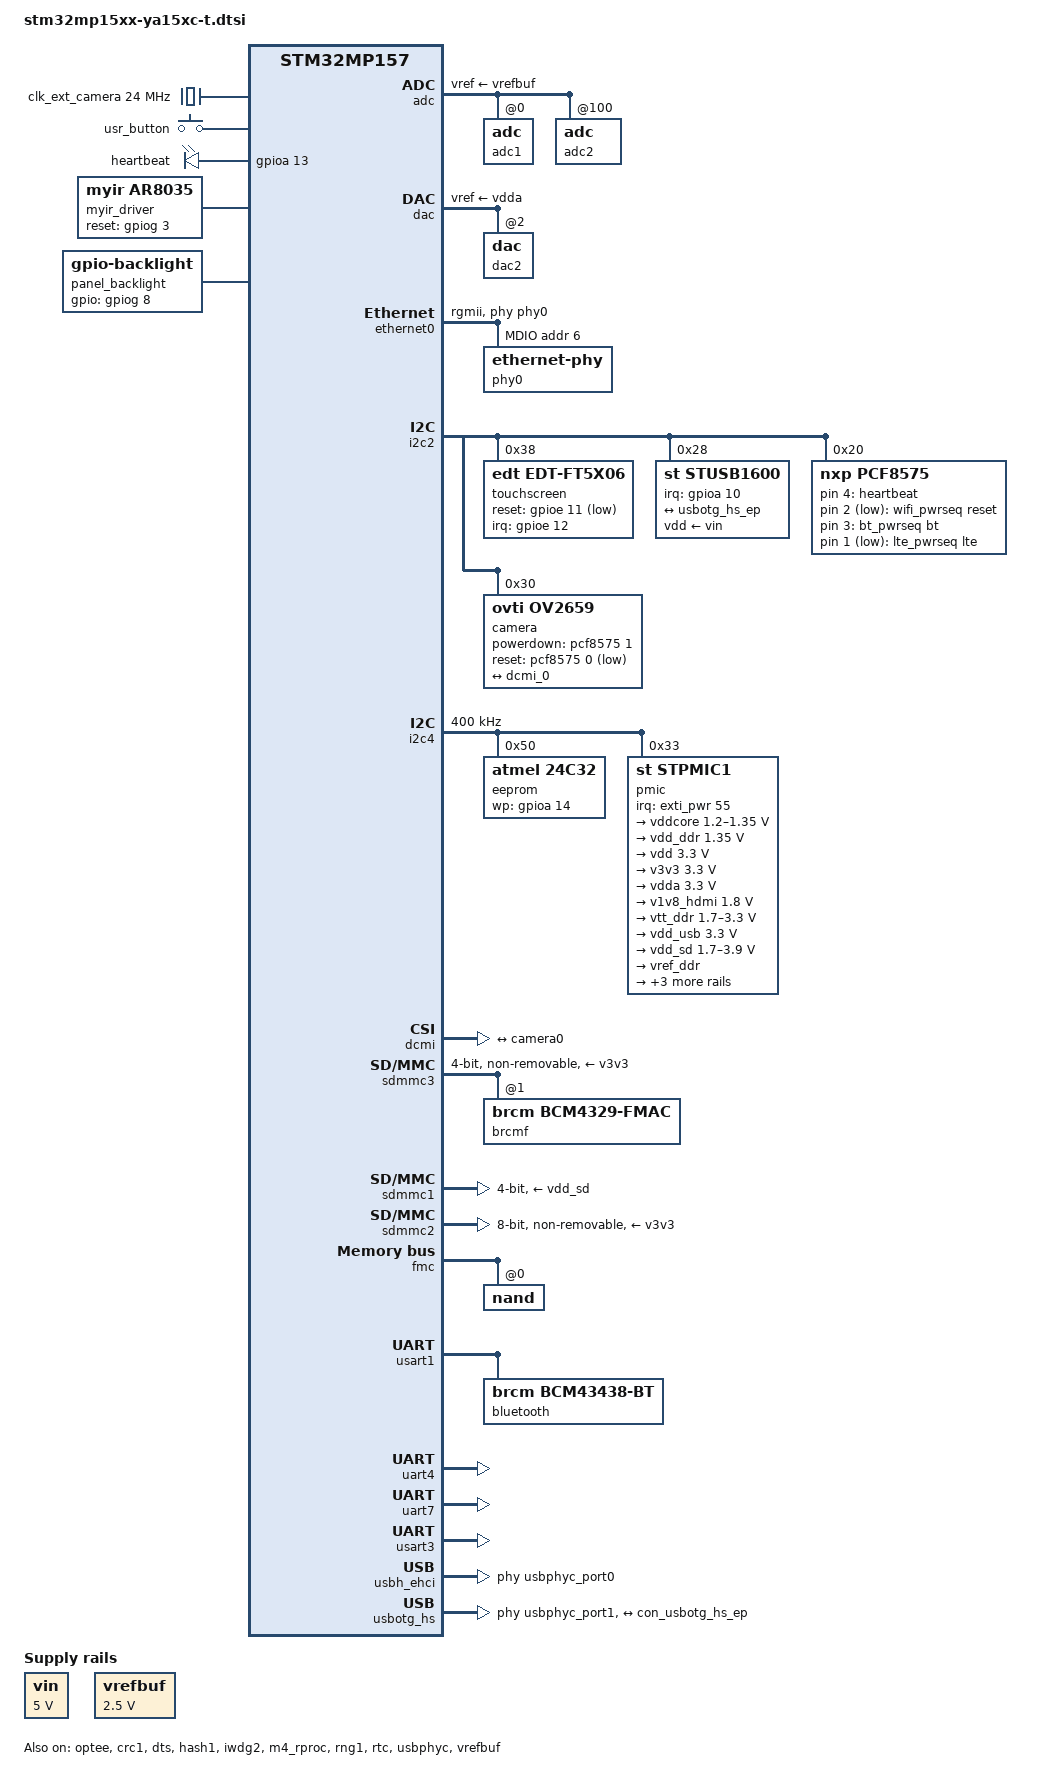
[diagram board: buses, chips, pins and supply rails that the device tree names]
// SPDX-License-Identifier: (GPL-2.0+ OR BSD-3-Clause)
/*
 * Copyright (C) STMicroelectronics 2019 - All Rights Reserved
 * Author: Alexandre Torgue <alexandre.torgue@st.com> for STMicroelectronics.
 */

#include "stm32mp157-m4-srm.dtsi"
#include "stm32mp157-m4-srm-pinctrl.dtsi"
#include <dt-bindings/mfd/st,stpmic1.h>
#include <dt-bindings/input/input.h>


/ {

	reserved-memory {
		#address-cells = <1>;
		#size-cells = <1>;
		ranges;

		mcuram2: mcuram2@10000000 {
			compatible = "shared-dma-pool";
			reg = <0x10000000 0x40000>;
			no-map;
		};

		vdev0vring0: vdev0vring0@10040000 {
			compatible = "shared-dma-pool";
			reg = <0x10040000 0x1000>;
			no-map;
		};

		vdev0vring1: vdev0vring1@10041000 {
			compatible = "shared-dma-pool";
			reg = <0x10041000 0x1000>;
			no-map;
		};

		vdev0buffer: vdev0buffer@10042000 {
			compatible = "shared-dma-pool";
			reg = <0x10042000 0x4000>;
			no-map;
		};

		mcuram: mcuram@30000000 {
			compatible = "shared-dma-pool";
			reg = <0x30000000 0x40000>;
			no-map;
		};

		retram: retram@38000000 {
			compatible = "shared-dma-pool";
			reg = <0x38000000 0x10000>;
			no-map;
		};
	};

	 clocks {
                clk_ext_camera: clk-ext-camera {
                        #clock-cells = <0>;
                        compatible = "fixed-clock";
                        clock-frequency = <24000000>;
                };
        };

	joystick {
	        compatible = "gpio-keys";
        	#size-cells = <0>;
        	button-0 {
               		 label = "usr_button";
               		 linux,code = <KEY_ENTER>;
                	interrupt-parent = <&gpioz>;
                	interrupts = <0 IRQ_TYPE_EDGE_RISING>;
        	};
	};


	led {
        	compatible = "gpio-leds";
        	blue {
                        label = "heartbeat";
                        gpios = <&gpioa 13 GPIO_ACTIVE_HIGH>;
                        linux,default-trigger = "heartbeat";
                        default-state = "off";
                };
                blue_ex {
                        label = "heartbeat";
                        gpios = <&pcf8575 4 GPIO_ACTIVE_HIGH>;
                        linux,default-trigger = "heartbeat";
                        default-state = "off";
                };


	};
	
	myir_driver {
                compatible = "myir,ar8035";
                reset-gpios = <&gpiog 3 GPIO_ACTIVE_HIGH>;
		status = "okay";
        };
	
	wifi_pwrseq: wifi-pwrseq {
                compatible = "mmc-pwrseq-simple";
                reset-gpios = <&pcf8575 2 GPIO_ACTIVE_LOW>;
        };
	
	bt_pwrseq {
                compatible = "myir,bt_pwr";
                bt-gpios = <&pcf8575 3 GPIO_ACTIVE_HIGH>;
		status = "okay";
        };	
	
        lte_pwrseq: lte-pwrseq {
                compatible = "myir,lte_pwrseq";
                lte-gpios = <&pcf8575 1 GPIO_ACTIVE_LOW>;
        };

	panel_backlight: panel-backlight {
		compatible = "gpio-backlight";
		gpios = <&gpiog 8 GPIO_ACTIVE_HIGH>;
		default-on;	
		status = "okay";
	};
	
	/*
	panel_backlight: panel-backlight {
		compatible = "pwm-backlight";
		pwms = <&pwm2 0 5000000>;
		brightness-levels = <0 4 8 16 32 64 128 255>;
		default-brightness-level = <6>;
		status = "okay";
	};
	*/

	usb_phy_tuning: usb-phy-tuning {
		st,hs-dc-level = <2>;
		st,fs-rftime-tuning;
		st,hs-rftime-reduction;
		st,hs-current-trim = <15>;
		st,hs-impedance-trim = <1>;
		st,squelch-level = <3>;
		st,hs-rx-offset = <2>;
		st,no-lsfs-sc;
	};

	vin: vin {
                compatible = "regulator-fixed";
                regulator-name = "vin";
                regulator-min-microvolt = <5000000>;
                regulator-max-microvolt = <5000000>;
                regulator-always-on;
        };


};

/*myir pin header
 *ANA0 (ADC1_INP0 or ADC2_INP0)
 *ANA1 (ADC1_INP1 or ADC2_INP1)
 *PC0(ADC1_INP10 or ADC2_INP10) 
 *PC3(ADC1_INP13 or ADC2_INN12) 
 *PF12(ADC1_INP6 or ADC1_INN2)
 *
 */
&adc{
	pinctrl-names = "default", "sleep";
	pinctrl-0 = <&adc_pins_mx>;
	pinctrl-1 = <&adc_sleep_pins_mx>;
	vdd-supply = <&vdd>;
        vdda-supply = <&vdd>;
        vref-supply = <&vrefbuf>;
	status = "okay";

	adc1: adc@0 {
                st,min-sample-time-nsecs = <10000>;
                st,adc-channels = <0 1 6 10 13>;
                status = "okay";
        };

        adc2: adc@100 {
		st,min-sample-time-nsecs = <5000>;
                st,adc-channels = <0 1 10 12>;
                status = "okay";
        };
	

        adc_temp: temp {
                status = "okay";
        };
};

&dac{
	pinctrl-names = "default", "sleep";
	pinctrl-0 = <&dac1_pins_mx>;
	pinctrl-1 = <&dac1_sleep_pins_mx>;
	status = "okay";
	vref-supply = <&vdda>;

	/*PA4*/
        dac1: dac@1 {
                status = "disabled";
        };
	/*PA5*/
        dac2: dac@2 {
                status = "okay";
        };

};


&optee {
	status = "okay";
};

&crc1 {
	status = "okay";
};

&dma1 {
	sram = <&dma_pool>;
};

&dma2 {
	sram = <&dma_pool>;
};

&dts {
	status = "okay";
};

/*g ethernet*/
&ethernet0 {
	status = "okay";
	pinctrl-0 = <&ethernet0_rgmii_pins_a>;
	pinctrl-1 = <&ethernet0_rgmii_pins_sleep_a>;
	pinctrl-names = "default", "sleep";
	phy-mode = "rgmii";
	max-speed = <1000>;
	phy-handle = <&phy0>;

	mdio0 {
		#address-cells = <1>;
		#size-cells = <0>;
		compatible = "snps,dwmac-mdio";
		phy0: ethernet-phy@6 {
            		reg = <6>; 
		};
	};
};


&hash1 {
	status = "okay";
};

/*no hdmi cec*/
/*
&cec {
	pinctrl-names = "default", "sleep";
	pinctrl-0 = <&cec_pins_a>;
	pinctrl-1 = <&cec_pins_sleep_a>;
	status = "disabled";
};
*/


&i2c2 {
	pinctrl-names = "default", "sleep";
        pinctrl-0 = <&i2c2_pins_mx &i2c2_pins_z_mx>;
        pinctrl-1 = <&i2c2_sleep_pins_mx &i2c2_sleep_pins_z_mx>;
        i2c-scl-rising-time-ns = <100>;
        i2c-scl-falling-time-ns = <7>;
        status = "okay";
        /delete-property/dmas;
        /delete-property/dma-names;
	//clock-frequency = <100000>;
	
        touchscreen@38 {
              compatible ="edt,edt-ft5x06";
              reg = <0x38>;

              interrupts = <12 IRQ_TYPE_EDGE_FALLING>;
              interrupt-parent = <&gpioe>;
              interrupt-controller;
              touchscreen-size-x = <800>;
              touchscreen-size-y = <480>;

              reset-gpios = <&gpioe 11 GPIO_ACTIVE_LOW>;
              status = "okay";
      };

	 /*
        tsc2007@48 {
                compatible = "ti,tsc2007";
                reg = <0x48>;
                interrupt-parent = <&gpioe>;
                interrupts = <12 IRQ_TYPE_EDGE_FALLING>;
                gpios = <&gpioe 12 0>;
                ti,x-plate-ohms = <180>;
                status = "okay";
        };
        */


        stusb1600@28 {
		compatible = "st,stusb1600";
		reg = <0x28>;
		interrupts = <10 IRQ_TYPE_EDGE_FALLING>;
		interrupt-parent = <&gpioa>;
		pinctrl-names = "default";
		pinctrl-0 = <&stusb1600_pins_a>;
		status = "okay";
		vdd-supply = <&vin>;

		connector {
			compatible = "usb-c-connector";
			label = "USB-C";
			power-role = "dual";
			power-opmode = "default";

			port {
				con_usbotg_hs_ep: endpoint {
					remote-endpoint = <&usbotg_hs_ep>;
				};
			};
		};
	};

	pcf8575: gpio@20 {
                compatible = "nxp,pcf8575";
                reg = <0x20>;
                gpio-controller;
                #gpio-cells = <2>;
                lines-initial-states = <0xffff>;
                status = "okay";
        };

	camera@30 {
                compatible = "ovti,ov2659";
                reg = <0x30>;
                clocks = <&clk_ext_camera>;
                clock-names = "xvclk";
                powerdown-gpios = <&pcf8575 1 (GPIO_ACTIVE_HIGH | GPIO_PUSH_PULL)>;
                reset-gpios = <&pcf8575 0 (GPIO_ACTIVE_LOW | GPIO_PUSH_PULL)>;
                status = "okay";
                
                port {
                        camera0: endpoint {
                                remote-endpoint = <&dcmi_0>;
                                link-frequencies = /bits/ 64 <70000000>;
                        };
                };
        };

};

&i2c4 {
	pinctrl-names = "default", "sleep";
	pinctrl-0 = <&i2c4_pins_a>;
	pinctrl-1 = <&i2c4_pins_sleep_a>;
	i2c-scl-rising-time-ns = <185>;
	i2c-scl-falling-time-ns = <20>;
	clock-frequency = <400000>;
	status = "okay";
	/* spare dmas for other usage */
	/delete-property/dmas;
	/delete-property/dma-names;
	
	eeprom@50 {
          	compatible = "atmel,24c32";
          	reg = <0x50>;
          	pagesize = <32>;
          	wp-gpios = <&gpioa 14 0>;
          	num-addresses = <8>;
      };

	pmic: stpmic@33 {
		compatible = "st,stpmic1";
		reg = <0x33>;
		interrupts-extended = <&exti_pwr 55 IRQ_TYPE_EDGE_FALLING>;
		interrupt-controller;
		#interrupt-cells = <2>;
		status = "okay";

		regulators {
			compatible = "st,stpmic1-regulators";
		
			pwr_sw1-supply = <&bst_out>;
			pwr_sw2-supply = <&bst_out>;

			vddcore: buck1 {
				regulator-name = "vddcore";
				regulator-min-microvolt = <1200000>;
				regulator-max-microvolt = <1350000>;
				regulator-always-on;
				regulator-initial-mode = <0>;
				regulator-over-current-protection;
			};

			vdd_ddr: buck2 {
				regulator-name = "vdd_ddr";
				regulator-min-microvolt = <1350000>;
				regulator-max-microvolt = <1350000>;
				regulator-always-on;
				regulator-initial-mode = <0>;
				regulator-over-current-protection;
			};

			vdd: buck3 {
				regulator-name = "vdd";
				regulator-min-microvolt = <3300000>;
				regulator-max-microvolt = <3300000>;
				regulator-always-on;
				st,mask-reset;
				regulator-initial-mode = <0>;
				regulator-over-current-protection;
			};

			v3v3: buck4 {
				regulator-name = "v3v3";
				regulator-min-microvolt = <3300000>;
				regulator-max-microvolt = <3300000>;
				regulator-always-on;
				regulator-over-current-protection;
				regulator-initial-mode = <0>;
			};
			
			/*none*/
			vdda: ldo1 {
				regulator-name = "v1v8_audio";
				regulator-min-microvolt = <3300000>;
				regulator-max-microvolt = <3300000>;
				regulator-always-on;
				interrupts = <IT_CURLIM_LDO1 0>;

			};

			v1v8_hdmi: ldo2 {
				regulator-name = "v1v8_hdmi";
				regulator-min-microvolt = <1800000>;
				regulator-max-microvolt = <1800000>;
				regulator-always-on;
				interrupts = <IT_CURLIM_LDO2 0>;

			};

			vtt_ddr: ldo3 {
				regulator-name = "vtt_ddr";
				regulator-min-microvolt = <1700000>;
				regulator-max-microvolt = <3300000>;
				regulator-always-on;
				regulator-over-current-protection;
			};

			vdd_usb: ldo4 {
				regulator-name = "vdd_usb";
				regulator-min-microvolt = <3300000>;
				regulator-max-microvolt = <3300000>;
				interrupts = <IT_CURLIM_LDO4 0>;
				regulator-always-on;
			};


			vdd_sd: ldo5 {
				regulator-name = "vdd_sd";
				regulator-min-microvolt = <1700000>;
				regulator-max-microvolt = <3900000>;
				interrupts = <IT_CURLIM_LDO5 0>;
				regulator-boot-on;
			};

			vref_ddr: vref_ddr {
				regulator-name = "vref_ddr";
				regulator-always-on;
				regulator-over-current-protection;
			};

			 bst_out: boost {
				regulator-name = "bst_out";
				interrupts = <IT_OCP_BOOST 0>;
			 };

			vbus_otg: pwr_sw1 {
				regulator-name = "vbus_otg";
				interrupts = <IT_OCP_OTG 0>;
			 };

			 vbus_sw: pwr_sw2 {
				regulator-name = "vbus_sw";
				interrupts = <IT_OCP_SWOUT 0>;
				regulator-active-discharge = <1>;
			 };
		};

		onkey {
			compatible = "st,stpmic1-onkey";
			interrupts = <IT_PONKEY_F 0>, <IT_PONKEY_R 0>;
			interrupt-names = "onkey-falling", "onkey-rising";
			power-off-time-sec = <10>;
			status = "okay";
		};

		watchdog {
			compatible = "st,stpmic1-wdt";
			status = "okay";
		};
    };
};

/*DCMI for camera*/
&dcmi {
        status = "okay";
        pinctrl-names = "default", "sleep";
        pinctrl-0 = <&dcmi_pins_mx>;
        pinctrl-1 = <&dcmi_sleep_pins_mx>;

        port {
                dcmi_0: endpoint {
                        remote-endpoint = <&camera0>;
                        link-frequencies = /bits/ 64 <70000000>;
                };
        };
};

&ipcc {
	status = "okay";
};

/*watch dog*/
&iwdg2 {
	timeout-sec = <32>;
	status = "okay";
};

&m4_rproc {
	memory-region = <&retram>, <&mcuram>, <&mcuram2>, <&vdev0vring0>,
			<&vdev0vring1>, <&vdev0buffer>;
	mboxes = <&ipcc 0>, <&ipcc 1>, <&ipcc 2>;
	mbox-names = "vq0", "vq1", "shutdown";
	interrupt-parent = <&exti>;
	interrupts = <68 1>;
	wakeup-source;
	status = "okay";
};


&pwr_regulators {
	vdd-supply = <&vdd>;
	//vdd_3v3_usbfs-supply = <&vdd_usb>;
};


&rng1 {
	status = "okay";
};

/*rtc*/
&rtc {
	status = "okay";
};

/* Wifi */
&sdmmc3 {
     arm,primecell-periphid = <0x10153180>;
     pinctrl-names = "default", "opendrain", "sleep";
     pinctrl-0 = <&sdmmc3_b4_pins_a>;
     pinctrl-1 = <&sdmmc3_b4_od_pins_a>;
     pinctrl-2 = <&sdmmc3_b4_sleep_pins_a>;
     non-removable;
     st,neg-edge;
     bus-width = <4>;
     vmmc-supply = <&v3v3>;
     mmc-pwrseq = <&wifi_pwrseq>;
     #address-cells = <1>;
     #size-cells = <0>;
     keep-power-in-suspend;
     status = "okay";
 
     brcmf: bcrmf@1 {
         reg = <1>;
         compatible = "brcm,bcm4329-fmac";
     };
};


/*SD card*/
&sdmmc1 {
     pinctrl-names = "default", "opendrain", "sleep";
     pinctrl-0 = <&sdmmc1_b4_pins_a>;
     pinctrl-1 = <&sdmmc1_b4_od_pins_a>;
     pinctrl-2 = <&sdmmc1_b4_sleep_pins_a>;
     broken-cd;
     st,neg-edge;
     bus-width = <4>;
     vmmc-supply = <&vdd_sd>;
     status = "okay";
};

/*emmc*/
&sdmmc2 {
	pinctrl-names = "default", "opendrain", "sleep";
	pinctrl-0 = <&sdmmc2_b4_pins_a &sdmmc2_d47_pins_a>;
	pinctrl-1 = <&sdmmc2_b4_od_pins_a &sdmmc2_d47_pins_a>;
	pinctrl-2 = <&sdmmc2_b4_sleep_pins_a &sdmmc2_d47_sleep_pins_a>;
	non-removable;
	no-sd;
	no-sdio;
	st,neg-edge;
	bus-width = <8>;
	vmmc-supply = <&v3v3>;
	vqmmc-supply = <&vdd>;
	mmc-ddr-3_3v;
	status = "okay";
};

/*nand*/
&fmc {
    pinctrl-names = "default", "sleep";
    pinctrl-0 = <&fmc_pins_a>;
    pinctrl-1 = <&fmc_sleep_pins_a>;
    status = "okay";
    #address-cells = <1>;
    #size-cells = <0>;
                             
    nand: nand@0 {
          reg = <0>;
          nand-on-flash-bbt;
          #address-cells = <1>;
          #size-cells = <1>;
          nand-ecc-strength = <4>;
          nand-ecc-step-size = <512>;
    };                                                                                                                                                                                                 
};

/* Bluetooth */
&usart1{
        pinctrl-names = "default", "sleep";
        pinctrl-0 = <&usart1_pins_mx &usart1_pins_z_mx>;
        pinctrl-1 = <&usart1_sleep_pins_mx &usart1_sleep_pins_z_mx>;
        uart-has-rtscts;
        status = "okay";

        bluetooth {
                //pinctrl-names = "default";
                //pinctrl-0 = <&pcf8575 3 GPIO_ACTIVE_LOW>;
                compatible = "brcm,bcm43438-bt";
                max-speed = <3000000>;
        };
};


/*debug*/
&uart4 {
        pinctrl-names = "default", "sleep";
        pinctrl-0 = <&uart4_pins_mx>;
        pinctrl-1 = <&uart4_sleep_pins_mx>;
        status = "okay";
};

/*RS232*/
&uart7 {
        pinctrl-names = "default", "sleep";
        pinctrl-0 = <&uart7_pins_mx>;
        pinctrl-1 = <&uart7_sleep_pins_mx>;
        status = "okay";

};


/*rs485*/
&usart3{
        pinctrl-names = "default", "sleep";
        pinctrl-0 = <&usart3_pins_mx>;
        pinctrl-1 = <&usart3_sleep_pins_mx>;
        status = "okay";
};


/*SPI1 for A7 core*/
/*
&spi1 {
	pinctrl-names = "default", "sleep";
        pinctrl-0 = <&spi1_pins_a>;
        pinctrl-1 = <&spi1_sleep_pins_a>;
	    cs-gpios = <&gpioz 3 0>;
        status = "okay";
	spidev@0 {     
       		 compatible = "spidev";
        	spi-max-frequency = <20000000>;
        	reg = <0>;
    };

};*/


/*SPI1 for M4 core*/
/*
&m4_spi1 {
   pinctrl-names = "rproc_default";
   pinctrl-0 = <&m4_spi1_pins_z_mx>;
   status = "okay";

};
*/

&sram {
	dma_pool: dma_pool@0 {
		reg = <0x50000 0x10000>;
		pool;
	};
};

&timers1 {
	/* spare dmas for other usage */
	/delete-property/dmas;
	/delete-property/dma-names;
	status = "disabled";
	pwm {
		pinctrl-0 = <&pwm1_pins_a>;
		pinctrl-1 = <&pwm1_sleep_pins_a>;
		pinctrl-names = "default", "sleep";
		status = "okay";
	};
	timer@0 {
		status = "okay";
	};
};

/*PWM for bg*/
/*
&timers2{
	status = "okay";

	pwm2:pwm{
		pinctrl-names = "default", "sleep";
		pinctrl-0 = <&tim2_pwm_pins_mx>;
		pinctrl-1 = <&tim2_pwm_sleep_pins_mx>;
		status = "okay";
	};
};
*/


&timers3 {
	/delete-property/dmas;
	/delete-property/dma-names;
	status = "disabled";
	pwm {
		pinctrl-0 = <&pwm3_pins_a>;
		pinctrl-1 = <&pwm3_sleep_pins_a>;
		pinctrl-names = "default", "sleep";
		status = "okay";
	};
	timer@2 {
		status = "okay";
	};
};

/*pwm */
/*
&timers4{
	status = "disabled";
	pwm4:pwm{
		pinctrl-names = "default", "sleep";
		pinctrl-0 = <&tim4_pwm_pins_mx>;
		pinctrl-1 = <&tim4_pwm_sleep_pins_mx>;
		status = "okay";
	};
};
*/

&timers5 {
	/delete-property/dmas;
	/delete-property/dma-names;
	status = "disabled";
	pwm {
		pinctrl-0 = <&pwm5_pins_a>;
		pinctrl-1 = <&pwm5_sleep_pins_a>;
		pinctrl-names = "default", "sleep";
		status = "okay";
	};
	timer@4 {
		status = "okay";
	};
};

&timers6 {
	/delete-property/dmas;
	/delete-property/dma-names;
	status = "disabled";
	timer@5 {
		status = "okay";
	};
};

&timers12 {
	/delete-property/dmas;
	/delete-property/dma-names;
	status = "disabled";
	pwm {
		pinctrl-0 = <&pwm12_pins_a>;
		pinctrl-1 = <&pwm12_sleep_pins_a>;
		pinctrl-names = "default", "sleep";
		status = "okay";
	};
	timer@11 {
		status = "okay";
	};
};


/*usb host*/
&usbh_ehci {
	phys = <&usbphyc_port0>;
	phy-names = "usb";
	status = "okay";
};

/*USB*/
/*
&usbh_ohci {
   phys = <&usbphyc_port0>; 
   phy-names = "usb";
   status = "okay";
};
*/

/*otg*/
&usbotg_hs {
	phys = <&usbphyc_port1 0>;
	phy-names = "usb2-phy";
	usb-role-switch;
	status = "okay";

	port {
		usbotg_hs_ep: endpoint {
			remote-endpoint = <&con_usbotg_hs_ep>;
		};
	};
};

&usbphyc {
	status = "okay";
	
};

&usbphyc_port0 {
	phy-supply = <&vdd_usb>;
	st,phy-tuning = <&usb_phy_tuning>;
};

&usbphyc_port1 {
	phy-supply = <&vdd_usb>;
	st,phy-tuning = <&usb_phy_tuning>;
};

&vrefbuf {
	regulator-min-microvolt = <2500000>;
	regulator-max-microvolt = <2500000>;
	vdda-supply = <&vdda>;
	status = "okay";
};
